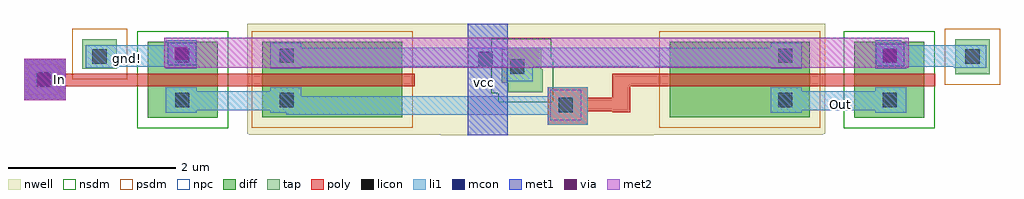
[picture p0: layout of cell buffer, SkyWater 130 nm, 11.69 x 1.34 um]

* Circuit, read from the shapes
.subckt buffer In Out gnd! vcc
XM1 gnd! In n1 gnd! sky130_fd_pr__nfet_01v8 w=0.84 l=0.15
XM2 gnd! n1 Out gnd! sky130_fd_pr__nfet_01v8 w=0.84 l=0.15
XM3 vcc In n1 vcc sky130_fd_pr__pfet_01v8 w=1.68 l=0.15
XM4 vcc n1 Out vcc sky130_fd_pr__pfet_01v8 w=1.68 l=0.15
.ends

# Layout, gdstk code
import gdstk
lib = gdstk.Library(unit=1e-6, precision=1e-09)
def R(c, l, rs):  # rectangles x0, y0, x1, y1
    for r in rs: c.add(gdstk.rectangle(r[:2], r[2:], *l))
nwell = (64, 20)
diff = (65, 20)
tap = (65, 44)
poly = (66, 20)
licon = (66, 44)
li1 = (67, 20)
mcon = (67, 44)
met1 = (68, 20)
via = (68, 44)
met2 = (69, 20)
nsdm = (93, 44)
psdm = (94, 20)
npc = (95, 20)

buffer = lib.new_cell('buffer')
R(buffer, nwell, [(-0.06,0.1,2.49,0.11), (-2.36,0.11,4.52,0.12), (-2.38,0.12,4.54,1.44)])
R(buffer, diff, [(-3.57,0.31,-2.73,1.22), (4.89,0.31,5.73,1.22), (-2.2,0.32,-0.52,1.22), (2.68,0.32,4.36,1.22)])
R(buffer, tap, [(0.75,0.62,1.16,0.73), (0.67,0.73,1.16,0.89), (6.1,0.83,6.51,1.25), (0.67,0.89,1.14,1.13), (-4.35,0.9,-3.94,1.25)])
R(buffer, poly, [(1.22,0.23,1.7,0.39), (1.99,0.38,2.21,0.39), (1.22,0.39,2.21,0.55), (-5.05,0.52,-4.55,0.69), (1.22,0.55,1.7,0.68), (1.99,0.55,2.21,0.69), (-5.05,0.69,-0.37,0.84), (1.99,0.69,5.86,0.84), (-5.05,0.84,-4.55,1.02)])
R(buffer, licon, [(1.35,0.38,1.52,0.55), (-3.24,0.44,-3.07,0.61), (-1.99,0.44,-1.82,0.61), (3.98,0.44,4.15,0.61), (5.23,0.44,5.4,0.61), (-4.9,0.685,-4.73,0.855), (0.77,0.84,0.94,1.01), (-4.23,0.96,-4.06,1.13), (6.22,0.96,6.39,1.13), (-3.24,0.97,-3.07,1.14), (-1.99,0.97,-1.82,1.14), (3.98,0.97,4.15,1.14), (5.23,0.97,5.4,1.14)])
R(buffer, li1, [(1.22,0.23,1.7,0.35), (-1.91,0.35,1.7,0.37), (-3.35,0.37,-2.98,0.4), (-2.1,0.37,1.7,0.4), (3.89,0.37,4.26,0.4), (5.14,0.37,5.51,0.4), (-3.35,0.4,1.7,0.57), (3.89,0.4,5.51,0.63), (-5.05,0.52,-4.55,1.02), (-3.35,0.57,-1.73,0.63), (1.22,0.57,1.7,0.68), (-3.35,0.63,-2.98,0.68), (-2.1,0.63,-1.73,0.68), (3.89,0.63,4.26,0.68), (5.14,0.63,5.51,0.68), (0.73,0.75,1.04,0.92), (-3.35,0.9,-2.98,0.92), (-2.1,0.9,-1.73,0.92), (3.89,0.9,4.26,0.92), (5.14,0.9,5.51,0.92), (-4.31,0.91,-3.92,0.92), (2.32,0.91,2.49,0.92), (6.08,0.91,6.47,0.92), (-4.31,0.92,-2.98,1.18), (-2.1,0.92,4.26,1.15), (5.14,0.92,6.47,1.18), (-2.1,1.15,-1.73,1.21), (3.89,1.15,4.26,1.21), (-3.35,1.18,-2.98,1.24), (5.14,1.18,5.51,1.21), (5.14,1.21,5.45,1.24)])
R(buffer, mcon, [(-4.9,0.685,-4.73,0.855), (0.39,0.93,0.56,1.1), (-3.24,0.97,-3.07,1.14), (5.23,0.97,5.4,1.14)])
R(buffer, met1, [(0.26,0.1,0.74,1.44), (-5.05,0.52,-4.55,1.02), (5.15,0.93,5.49,1.2), (-3.33,0.94,-2.99,1.21)])
R(buffer, via, [(-4.89,0.695,-4.74,0.845), (5.245,0.985,5.395,1.135), (-3.245,1.005,-3.095,1.155)])
R(buffer, met2, [(-5.05,0.52,-4.55,1.02), (-3.37,0.91,5.54,1.27)])
R(buffer, nsdm, [(-3.695,0.185,-2.605,1.345), (4.765,0.185,5.855,1.345), (0.625,0.495,1.285,0.605), (0.545,0.605,1.285,1.015), (0.545,1.015,1.265,1.255)])
R(buffer, psdm, [(-2.325,0.195,-0.395,1.345), (2.555,0.195,4.485,1.345), (5.975,0.705,6.635,1.375), (-4.475,0.775,-3.815,1.375)])
R(buffer, npc, [(1.25,0.28,1.62,0.65), (-5,0.585,-4.63,0.955)])
buffer.add(gdstk.Label('gnd!', (-3.81,1.02), layer=67, texttype=5))
buffer.add(gdstk.Label('Out', (4.73,0.47), layer=67, texttype=5))
buffer.add(gdstk.Label('In', (-4.62,0.77), layer=69, texttype=5))
buffer.add(gdstk.Label('vcc', (0.46,0.73), layer=68, texttype=5))

lib.write_gds('buffer.gds')
